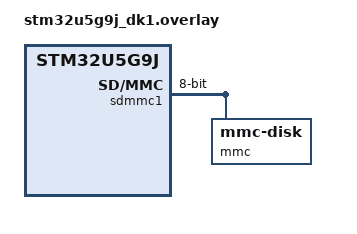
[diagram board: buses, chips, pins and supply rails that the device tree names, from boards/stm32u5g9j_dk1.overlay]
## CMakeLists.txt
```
# SPDX-License-Identifier: Apache-2.0

cmake_minimum_required(VERSION 3.28.0)
find_package(Zephyr REQUIRED HINTS $ENV{ZEPHYR_BASE})
project(mmc_subsys_test)

file(GLOB app_sources src/*.c)
target_sources(app PRIVATE ${app_sources})
```

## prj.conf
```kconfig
CONFIG_TEST=y
CONFIG_ZTEST=y
CONFIG_MMC_STACK=y
CONFIG_LOG=y
```

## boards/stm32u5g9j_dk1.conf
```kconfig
# SPDX-FileCopyrightText: Copyright 2026 EXALT Technologies
# SPDX-License-Identifier: Apache-2.0

CONFIG_HEAP_MEM_POOL_SIZE=2048
```

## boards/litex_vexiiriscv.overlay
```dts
/*
 * SPDX-FileCopyrightText: Copyright The Zephyr Project Contributors
 *
 * SPDX-License-Identifier: Apache-2.0
 */

/ {
	aliases {
		sdhc0 = &sdhc1;
	};
};
```

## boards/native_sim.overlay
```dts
/*
 * Copyright 2026 Alif Semiconductor
 *
 * SPDX-License-Identifier: Apache-2.0
 *
 */

/ {
	aliases {
		sdhc0 = &sdhc0;
	};

	sdhc0: sdhc {
		compatible = "zephyr,sdhc-emul";
		card-type = "emmc";
		capacity-blocks = <1024>;
		bus-width = <4>;
		max-bus-freq = <25000000>;
		voltage-330;
		card-inserted;
		status = "okay";

		sdmmc {
			compatible = "zephyr,mmc-disk";
			disk-name = "SD";
			status = "okay";
		};
	};
};
```

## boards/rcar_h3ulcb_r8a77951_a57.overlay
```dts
/* SPDX-License-Identifier: Apache-2.0 */

&emmc2 {

	status = "okay";

	disk {
		status = "okay";
	};
};
```

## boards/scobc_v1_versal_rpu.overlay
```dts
/*
 * Copyright (c) 2026 Space Cubics Inc.
 *
 * SPDX-License-Identifier: Apache-2.0
 */

/ {
	aliases {
		sdhc0 = &sdhci1;
	};
};
```

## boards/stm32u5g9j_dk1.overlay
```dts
/*
 * SPDX-FileCopyrightText: Copyright 2026 EXALT Technologies
 *
 * SPDX-License-Identifier: Apache-2.0
 */

/ {
	aliases {
		sdhc0 = &sdhc;
	};
};

sdhc: &sdmmc1 {
	compatible = "st,stm32-sdmmc";
	interrupts = <78 0>;
	interrupt-names = "event";
	hw-flow-control;
	bus-width = <8>;
	min-bus-freq = <DT_FREQ_K(400)>;
	max-bus-freq = <DT_FREQ_M(208)>;
	status = "okay";

	mmc {
		compatible = "zephyr,mmc-disk";
		disk-name = "MMC";
		status = "okay";
	};
};
```

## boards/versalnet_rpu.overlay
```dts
/*
 * Copyright (c) 2025 Advanced Micro Devices, Inc. (AMD)
 *
 * SPDX-License-Identifier: Apache-2.0
 */

/ {
	aliases {
		sdhc0 = &sdhci1;
	};
};
```

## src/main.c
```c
/*
 * Copyright 2022 NXP
 *
 * SPDX-License-Identifier: Apache-2.0
 */

#include <zephyr/device.h>
#include <zephyr/drivers/disk.h>
#include <zephyr/sd/mmc.h>
#include <zephyr/kernel.h>
#include <zephyr/ztest.h>

#define SECTOR_COUNT 32
#define SECTOR_SIZE  512 /* subsystem should set all cards to 512 byte blocks */
#define BUF_SIZE     (SECTOR_SIZE * SECTOR_COUNT)
static const struct device *const sdhc_dev = DEVICE_DT_GET(DT_ALIAS(sdhc0));
static struct sd_card card;
static uint8_t buf[BUF_SIZE] __aligned(CONFIG_SDHC_BUFFER_ALIGNMENT);
static uint8_t check_buf[BUF_SIZE] __aligned(CONFIG_SDHC_BUFFER_ALIGNMENT);
static uint32_t sector_size;
static uint32_t sector_count;

#define MMC_UNALIGN_OFFSET 1

/*
 * Verify that SD stack can initialize an MMC card
 * This test must run first, to ensure the card is initialized.
 */
ZTEST(sd_stack, test_0_init)
{
	int ret;

	zassert_true(device_is_ready(sdhc_dev), "SDHC device is not ready");

	ret = sd_init(sdhc_dev, &card);

	zassert_equal(ret, 0, "Card initialization failed");
}

/* Verify that MMC stack returns valid IOCTL values */
ZTEST(sd_stack, test_ioctl)
{
	int ret;

	ret = mmc_ioctl(&card, DISK_IOCTL_GET_SECTOR_COUNT, &sector_count);
	zassert_equal(ret, 0, "IOCTL sector count read failed");
	TC_PRINT("SD card reports sector count of %d\n", sector_count);

	ret = mmc_ioctl(&card, DISK_IOCTL_GET_SECTOR_SIZE, &sector_size);
	zassert_equal(ret, 0, "IOCTL sector size read failed");
	TC_PRINT("SD card reports sector size of %d\n", sector_size);
}

/* Verify that SD stack can read from an SD card */
ZTEST(sd_stack, test_read)
{
	int ret;
	int block_addr = 0;

	/* Try simple reads from start of SD card */

	ret = mmc_read_blocks(&card, buf, block_addr, 1);
	zassert_equal(ret, 0, "Single block card read failed");

	ret = mmc_read_blocks(&card, buf, block_addr, SECTOR_COUNT / 2);
	zassert_equal(ret, 0, "Multiple block card read failed");

	/* Try a series of reads from the same block */
	block_addr = sector_count / 2;
	for (int i = 0; i < 10; i++) {
		ret = mmc_read_blocks(&card, buf, block_addr, SECTOR_COUNT);
		zassert_equal(ret, 0, "Multiple reads from same addr failed");
	}
	/* Verify that out of bounds read fails */
	block_addr = sector_count;
	ret = mmc_read_blocks(&card, buf, block_addr, 1);
	zassert_not_equal(ret, 0, "Out of bounds read should fail");

	block_addr = sector_count - 2;
	ret = mmc_read_blocks(&card, buf, block_addr, 2);
	zassert_equal(ret, 0, "Read from end of card failed");

	/* Verify that unaligned reads work */
	block_addr = 3;
	ret = mmc_read_blocks(&card, buf + MMC_UNALIGN_OFFSET, block_addr, SECTOR_COUNT - 1);
	zassert_equal(ret, 0, "Unaligned read failed");
}

/* Verify that SD stack can write to an SD card */
ZTEST(sd_stack, test_write)
{
	int ret;
	int block_addr = 0;

	/* Try simple writes from start of SD card */

	ret = mmc_write_blocks(&card, buf, block_addr, 1);
	zassert_equal(ret, 0, "Single block card write failed");

	ret = mmc_write_blocks(&card, buf, block_addr, SECTOR_COUNT / 2);
	zassert_equal(ret, 0, "Multiple block card write failed");

	/* Try a series of reads from the same block */
	block_addr = sector_count / 2;
	for (int i = 0; i < 10; i++) {
		ret = mmc_write_blocks(&card, buf, block_addr, SECTOR_COUNT);
		zassert_equal(ret, 0, "Multiple writes to same addr failed");
	}
	/* Verify that out of bounds write fails */
	block_addr = sector_count;
	ret = mmc_write_blocks(&card, buf, block_addr, 1);
	zassert_not_equal(ret, 0, "Out of bounds write should fail");

	block_addr = sector_count - 2;
	ret = mmc_write_blocks(&card, buf, block_addr, 2);
	zassert_equal(ret, 0, "Write to end of card failed");

	/* Verify that unaligned writes work */
	block_addr = 3;
	ret = mmc_write_blocks(&card, buf + MMC_UNALIGN_OFFSET, block_addr, SECTOR_COUNT - 1);
	zassert_equal(ret, 0, "Unaligned write failed");
}

/* Test reads and writes interleaved, to verify data is making it on disk */
ZTEST(sd_stack, test_rw)
{
	int ret;
	int block_addr = 0;

	/* Zero the write buffer */
	memset(buf, 0, BUF_SIZE);
	memset(check_buf, 0, BUF_SIZE);
	ret = mmc_write_blocks(&card, buf, block_addr, SECTOR_COUNT / 2);
	zassert_equal(ret, 0, "Write to card failed");
	/* Verify that a read from this area is empty */
	ret = mmc_read_blocks(&card, buf, block_addr, SECTOR_COUNT / 2);
	zassert_equal(ret, 0, "Read from card failed");
	zassert_mem_equal(buf, check_buf, BUF_SIZE, "Read of erased area was not zero");

	/* Now write nonzero data block */
	for (int i = 0; i < sizeof(buf); i++) {
		check_buf[i] = buf[i] = (uint8_t)i;
	}

	ret = mmc_write_blocks(&card, buf, block_addr, SECTOR_COUNT);
	zassert_equal(ret, 0, "Write to card failed");
	/* Clear the read buffer, then write to it again */
	memset(buf, 0, BUF_SIZE);
	ret = mmc_read_blocks(&card, buf, block_addr, SECTOR_COUNT);
	zassert_equal(ret, 0, "Read from card failed");
	zassert_mem_equal(buf, check_buf, BUF_SIZE, "Read of written area was not correct");

	block_addr = (sector_count / 3);
	for (int i = 0; i < 10; i++) {
		/* Verify that unaligned writes work */
		ret = mmc_write_blocks(&card, buf + MMC_UNALIGN_OFFSET, block_addr,
				       SECTOR_COUNT - 1);
		zassert_equal(ret, 0, "Write to card failed");
		/* Zero check buffer and read into it */
		memset(check_buf + MMC_UNALIGN_OFFSET, 0, (SECTOR_COUNT - 1) * sector_size);
		ret = mmc_read_blocks(&card, check_buf + MMC_UNALIGN_OFFSET, block_addr,
				      (SECTOR_COUNT - 1));
		zassert_equal(ret, 0, "Read from card failed");
		zassert_mem_equal(buf + MMC_UNALIGN_OFFSET, check_buf + MMC_UNALIGN_OFFSET,
				  (SECTOR_COUNT - 1) * sector_size,
				  "Unaligned read of written area was not correct");
	}
}

/* Simply dump the card configuration. */
ZTEST(sd_stack, test_card_config)
{
	switch (card.card_voltage) {
	case SD_VOL_1_2_V:
		TC_PRINT("Card voltage: 1.2V\n");
		break;
	case SD_VOL_1_8_V:
		TC_PRINT("Card voltage: 1.8V\n");
		break;
	case SD_VOL_3_0_V:
		TC_PRINT("Card voltage: 3.0V\n");
		break;
	case SD_VOL_3_3_V:
		TC_PRINT("Card voltage: 3.3V\n");
		break;
	default:
		zassert_unreachable("Card voltage is not known value");
	}
	zassert_equal(card.status, CARD_INITIALIZED, "Card status is not OK");
	switch (card.card_speed) {
	case MMC_LEGACY_TIMING:
		TC_PRINT("Card timing: Legacy MMC\n");
		break;
	case MMC_HS_TIMING:
		TC_PRINT("Card timing: High Speed MMC\n");
		break;
	case MMC_HS200_TIMING:
		TC_PRINT("Card timing: MMC HS200\n");
		break;
	case MMC_HS400_TIMING:
		TC_PRINT("Card timing: MMC HS400\n");
		break;
	default:
		zassert_unreachable("Card timing is not known value");
	}
	switch (card.type) {
	case CARD_SDIO:
		TC_PRINT("Card type: SDIO\n");
		break;
	case CARD_SDMMC:
		TC_PRINT("Card type: SDMMC\n");
		break;
	case CARD_COMBO:
		TC_PRINT("Card type: combo card\n");
		break;
	case CARD_MMC:
		TC_PRINT("Card type: MMC\n");
		break;
	default:
		zassert_unreachable("Card type is not known value");
	}
}

ZTEST_SUITE(sd_stack, NULL, NULL, NULL, NULL, NULL);
```
